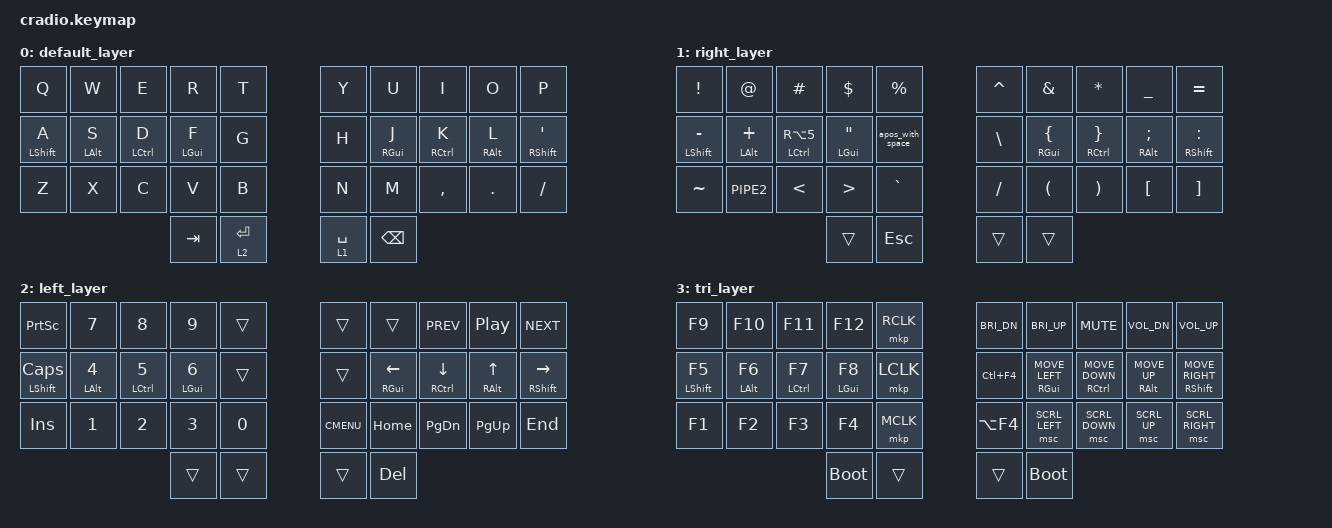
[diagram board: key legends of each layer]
// Copyright (c) 2022 The ZMK Contributors
// SPDX-License-Identifier: MIT
//
// NOTE: Timeless Homerow Mod implementation, timings, and the use of
// zmk-helpers/key-labels/34.h are based on or derived from the work
// of urob found at https://github.com/urob/zmk-config and
// https://github.com/urob/zmk-helpers.
//

#include <behaviors.dtsi>
#include <dt-bindings/zmk/keys.h>
#include <dt-bindings/zmk/bt.h>
#include <dt-bindings/zmk/pointing.h>
#include "zmk-helpers/key-labels/34.h"
#include "zmk-helpers/helper.h"

#define ZMK_POINTING_DEFAULT_MOVE_VAL 1500  // default: 600
#define ZMK_POINTING_DEFAULT_SCRL_VAL 20    // default: 10

// --- Timeless Homerow Mods Configuration ---

// Define key positions using labels from 34.h
#define KEYS_L LT0 LT1 LT2 LT3 LT4 LM0 LM1 LM2 LM3 LM4 LB0 LB1 LB2 LB3 LB4
#define KEYS_R RT0 RT1 RT2 RT3 RT4 RM0 RM1 RM2 RM3 RM4 RB0 RB1 RB2 RB3 RB4
#define THUMBS LH1 LH0 RH0 RH1 // Uses labels defined in 34.h

/* Left-hand HRMs. */
ZMK_HOLD_TAP(hml,
    flavor = "balanced";
    tapping-term-ms = <280>;
    quick-tap-ms = <175>;
    require-prior-idle-ms = <150>;
    bindings = <&kp>, <&kp>;
    hold-trigger-key-positions = <KEYS_R THUMBS>;
    hold-trigger-on-release;
)

/* Right-hand HRMs. */
ZMK_HOLD_TAP(hmr,
    flavor = "balanced";
    tapping-term-ms = <280>;
    quick-tap-ms = <175>;
    require-prior-idle-ms = <150>;
    bindings = <&kp>, <&kp>;
    hold-trigger-key-positions = <KEYS_L THUMBS>;
    hold-trigger-on-release;
)

// --- End Timeless Homerow Mods Configuration --- 

/ {
        kscan0: kscan {
        compatible = "zmk,kscan-gpio-direct";
        wakeup-source;

        input-gpios
        = <&pro_micro  7 (GPIO_ACTIVE_LOW | GPIO_PULL_UP)>
        , <&pro_micro 18 (GPIO_ACTIVE_LOW | GPIO_PULL_UP)>
        , <&pro_micro 19 (GPIO_ACTIVE_LOW | GPIO_PULL_UP)>
        , <&pro_micro 20 (GPIO_ACTIVE_LOW | GPIO_PULL_UP)>
        , <&pro_micro 21 (GPIO_ACTIVE_LOW | GPIO_PULL_UP)>
        , <&pro_micro 15 (GPIO_ACTIVE_LOW | GPIO_PULL_UP)>
        , <&pro_micro 14 (GPIO_ACTIVE_LOW | GPIO_PULL_UP)>
        , <&pro_micro 16 (GPIO_ACTIVE_LOW | GPIO_PULL_UP)>
        , <&pro_micro 22 (GPIO_ACTIVE_LOW | GPIO_PULL_UP)>
        , <&pro_micro  1 (GPIO_ACTIVE_LOW | GPIO_PULL_UP)>
        , <&pro_micro  2 (GPIO_ACTIVE_LOW | GPIO_PULL_UP)>
        , <&pro_micro  3 (GPIO_ACTIVE_LOW | GPIO_PULL_UP)>
        , <&pro_micro  4 (GPIO_ACTIVE_LOW | GPIO_PULL_UP)>
        , <&pro_micro  5 (GPIO_ACTIVE_LOW | GPIO_PULL_UP)>
        , <&pro_micro  6 (GPIO_ACTIVE_LOW | GPIO_PULL_UP)>
        , <&pro_micro  8 (GPIO_ACTIVE_LOW | GPIO_PULL_UP)>
        , <&pro_micro  9 (GPIO_ACTIVE_LOW | GPIO_PULL_UP)>
        ;
    };

    behaviors {
        dqt_with_space: macro_0 { // Node name: dqs_macro
            compatible = "zmk,behavior-macro";
            #binding-cells = <0>;
            bindings = <&kp DQT &kp SPACE>; // Action: Press ", press space
        };
        apos_with_space: macro_1 { // Node name: dqs_macro
            compatible = "zmk,behavior-macro";
            #binding-cells = <0>;
            bindings = <&kp APOS &kp SPACE>; // Action: Press ", press space
        };
    };

    key_positions {
        compatible = "zmk,key-positions";
        positions = <
            LT4 LT3 LT2 LT1 LT0      RT0 RT1 RT2 RT3 RT4
            LM4 LM3 LM2 LM1 LM0      RM0 RM1 RM2 RM3 RM4
            LB4 LB3 LB2 LB1 LB0      RB0 RB1 RB2 RB3 RB4
                        LH1 LH0      RH0 RH1
        >;
    };

    conditional_layers {
        compatible = "zmk,conditional-layers";
        tri_layer {
            if-layers = <1 2>;
            then-layer = <3>;
        };
    };

    keymap {
        compatible = "zmk,keymap";
        default_layer {
            bindings = <
        //╭──────────┬──────────┬──────────┬──────────┬──────────╮     ╭──────────┬──────────┬──────────┬──────────┬──────────╮
        //│  Q       │  W       │  E       │  R       │  T       │     │  Y       │  U       │  I       │  O       │  P       │
            &kp Q      &kp W      &kp E      &kp R      &kp T            &kp Y      &kp U     &kp I      &kp O      &kp P
        //├──────────┼──────────┼──────────┼──────────┼──────────┤     ├──────────┼──────────┼──────────┼──────────┼──────────┤
        //│  A       │  S       │  D       │  F       │  G       │     │  H       │  J       │  K       │  L       │ ' "      │
         &hml LSHFT A &hml LALT S &hml LCTRL D &hml LGUI F   &kp G     &kp H      &hmr RGUI J &hmr RCTRL K &hmr RALT L &hmr RSHFT SQT
        //├──────────┼──────────┼──────────┼──────────┼──────────┤     ├──────────┼──────────┼──────────┼──────────┼──────────┤
        //│  Z       │  X       │  C       │  V       │  B       │     │  N       │  M       │ , <      │ . >      │ / ?      │
            &kp Z      &kp X      &kp C      &kp V      &kp B            &kp N      &kp M      &kp COMMA  &kp DOT    &kp FSLH
        //╰──────────┴──────────┴──────────┼──────────┼──────────┤     ├──────────┼──────────┼──────────┴──────────┴──────────╯
                                            &kp TAB    &lt 2 ENTER      &lt 1 SPACE &kp BSPC
        //                                 ╰──────────┴──────────╯     ╰──────────┴──────────╯
            >;
        };

        right_layer {
            bindings = <
        //╭──────────┬──────────┬──────────┬──────────┬──────────╮     ╭──────────┬──────────┬──────────┬──────────┬──────────╮
        //│  !       │  @       │  #       │  $       │  %       │     │  ^       │  &       │  *       │  _       │  =       │
            &kp EXCL  &kp AT     &kp POUND  &kp DLLR   &kp PRCNT        &kp CARET  &kp AMPS   &kp STAR   &kp UNDER  &kp EQUAL
        //├──────────┼──────────┼──────────┼──────────┼──────────┤     ├──────────┼──────────┼──────────┼──────────┼──────────┤
        //│  -       │   +      │  €       │  "       │  '       │     │  \       │      {   │  }       │  ;       │  :       │
&hml LSHFT MINUS &hml LALT PLUS &hml LCTRL RA(N5) &hml LGUI DQT &apos_with_space   &kp BSLH &hmr RGUI LBRC &hmr RCTRL RBRC &hmr RALT SEMI &hmr RSHFT COLON
        //├──────────┼──────────┼──────────┼──────────┼──────────┤     ├──────────┼──────────┼──────────┼──────────┼──────────┤
        //│  ~       │  |       │  <       │  >       │  `       │     │  /       │  (       │  )       │  [       │  ]       │
           &kp TILDE  &kp PIPE2  &kp LT     &kp GT     &kp GRAVE        &kp FSLH   &kp LPAR   &kp RPAR   &kp LBKT   &kp RBKT
        //╰──────────┴──────────┴──────────┼──────────┼──────────┤     ├──────────┼──────────┼──────────┴──────────┴──────────╯
        //                                 │          │  ESCAPE  │     │          │          │
                                            &trans     &kp ESC          &trans     &trans
        //                                 ╰──────────┴──────────╯     ╰──────────┴──────────╯
            >;
        };

        left_layer {
            bindings = <
        //╭──────────┬──────────┬──────────┬──────────┬──────────╮     ╭──────────┬──────────┬──────────┬──────────┬──────────╮
        //│PRINT SCRN│  7       │   8      │   9      │  000000  │     │          │          │ PREV     │ PLAY     │ NEXT     │
           &kp PSCRN  &kp N7     &kp N8     &kp N9     &trans           &trans     &trans &kp C_PREV   &kp C_PP  &kp C_NEXT
        //├──────────┼──────────┼──────────┼──────────┼──────────┤     ├──────────┼──────────┼──────────┼──────────┼──────────┤
        //│CAPS LOCK │  4       │   5      │   6      │  000     │     │          │ LEFT     │ DOWN     │ UP       │ RIGHT    │
    &hml LSHFT CAPS &hml LALT N4 &hml LCTRL N5 &hml LGUI N6  &trans     &trans &hmr RGUI LEFT &hmr RCTRL DOWN &hmr RALT UP &hmr RSHFT RIGHT
        //├──────────┼──────────┼──────────┼──────────┼──────────┤     ├──────────┼──────────┼──────────┼──────────┼──────────┤
        //│  INSERT  │  1       │  2       │   3      │  0       │     │CONTE MENU│ HOME     │ PAGE DN  │ PAGE UP  │ END      │
           &kp INS    &kp N1     &kp N2     &kp N3     &kp N0           &kp K_CMENU &kp HOME   &kp PG_DN &kp PG_UP  &kp END 
        //╰──────────┴──────────┴──────────┼──────────┼──────────┤     ├──────────┼──────────┼──────────┴──────────┴──────────╯
        //                                 │          │          │     │          │  DELETE  │
                                             &trans     &trans          &trans     &kp DEL
        //                                 ╰──────────┴──────────╯     ╰──────────┴──────────╯
            >;
        };

        tri_layer {
            bindings = <
        //╭──────────┬──────────┬──────────┬──────────┬──────────╮   ╭──────────┬──────────┬──────────┬──────────┬──────────╮
        //│  F9      │  F10     │  F11     │  F12     │RIGHT CLK │   │ BRIGHT - │ BRIGHT + │ MUTED    │ VOL DOWN │ VOL UP   │
           &kp F9     &kp F10    &kp F11    &kp F12    &mkp RCLK     &kp C_BRI_DN &kp C_BRI_UP &kp C_MUTE &kp C_VOL_DN &kp C_VOL_UP
        //├──────────┼──────────┼──────────┼──────────┼──────────┤   ├──────────┼──────────┼──────────┼──────────┼──────────┤
        //│  F5      │  F6      │  F7      │   F8     │LEFT CLK  │   │ CLS WIND │MOUS LEFT │MOUS DOWN │ MOUS UP  │MOUS RIGHT│
  &hml LSHFT F5 &hml LALT F6 &hml LCTRL F7 &hml LGUI F8 &mkp LCLK    &kp LC(F4) &hmr RGUI MOVE_LEFT &hmr RCTRL MOVE_DOWN &hmr RALT MOVE_UP &hmr RSHFT MOVE_RIGHT
        //├──────────┼──────────┼──────────┼──────────┼──────────┤   ├──────────┼──────────┼──────────┼──────────┼──────────┤
        //│  F1      │  F2      │  F3      │  F4      │MIDDLE CLK│   | CLS TAB  │SCRL LEFT │SCRL DOWN │ SCRL UP  │SCRL RIGHT│
           &kp F1     &kp F2     &kp F3     &kp F4     &mkp MCLK     &kp LA(F4) &msc SCRL_LEFT &msc SCRL_DOWN &msc SCRL_UP &msc SCRL_RIGHT
        //╰──────────┴──────────┴──────────┼──────────┼──────────┤   ├──────────┼──────────┼──────────┴──────────┴──────────╯
        //                                 │BOOTLOADER│          │   │          │BOOTLOADER│
                                           &bootloader &trans        &trans     &bootloader
        //                                 ╰──────────┴──────────╯   ╰──────────┴──────────╯
            >;
        };
    };
};
